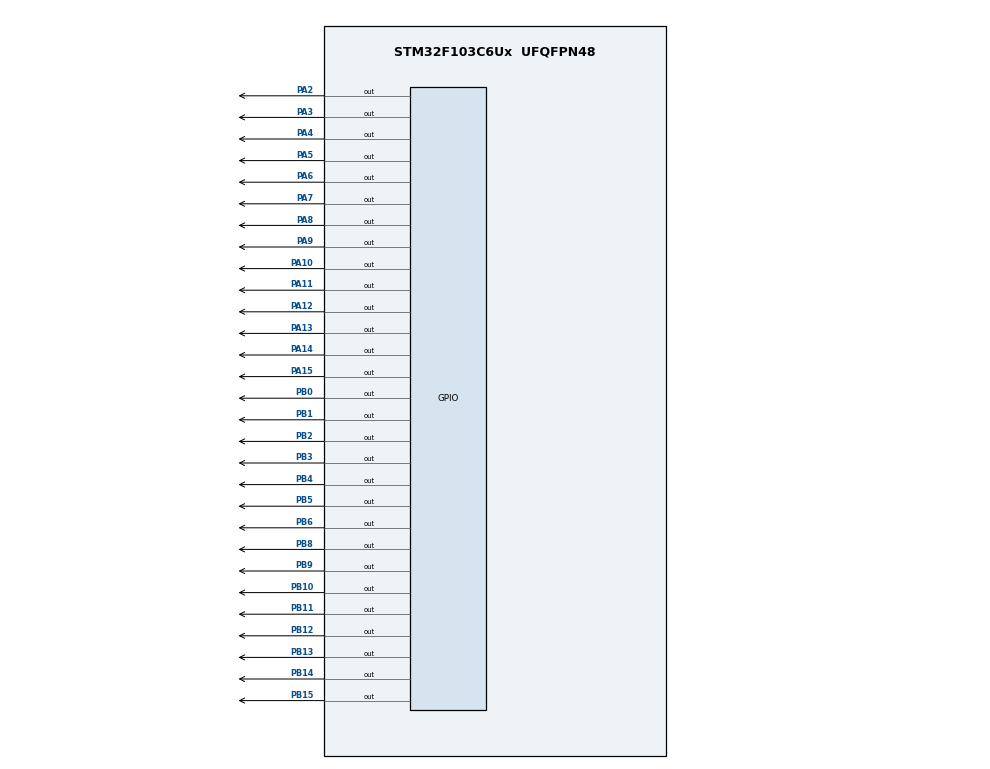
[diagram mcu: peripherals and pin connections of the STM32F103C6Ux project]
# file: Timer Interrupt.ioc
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Mcu.Family=STM32F1
Mcu.Name=STM32F103C6Ux
Mcu.Package=UFQFPN48
NVIC.PriorityGroup=NVIC_PRIORITYGROUP_4
NVIC.TIM2_IRQn=true\:0\:0\:false\:false\:true\:true\:true
PA10.Signal=GPIO_Output
PA11.Signal=GPIO_Output
PA12.Signal=GPIO_Output
PA13.Signal=GPIO_Output
PA14.Signal=GPIO_Output
PA15.Signal=GPIO_Output
PA2.Signal=GPIO_Output
PA3.Signal=GPIO_Output
PA4.Signal=GPIO_Output
PA5.Signal=GPIO_Output
PA6.Signal=GPIO_Output
PA7.Signal=GPIO_Output
PA8.Signal=GPIO_Output
PA9.Signal=GPIO_Output
PB0.Signal=GPIO_Output
PB1.Signal=GPIO_Output
PB10.Signal=GPIO_Output
PB11.Signal=GPIO_Output
PB12.Signal=GPIO_Output
PB13.Signal=GPIO_Output
PB14.Signal=GPIO_Output
PB15.Signal=GPIO_Output
PB2.Signal=GPIO_Output
PB3.Signal=GPIO_Output
PB4.Signal=GPIO_Output
PB5.Signal=GPIO_Output
PB6.Signal=GPIO_Output
PB8.Signal=GPIO_Output
PB9.Signal=GPIO_Output
ProjectManager.HeapSize=0x200
ProjectManager.StackSize=0x400
ProjectManager.TargetToolchain=STM32CubeIDE
RCC.APB1Freq_Value=8000000
RCC.APB2Freq_Value=8000000
TIM2.Period=1
TIM2.Prescaler=7999
VP_SYS_VS_ND.Mode=No_Debug
VP_TIM2_VS_ClockSourceINT.Mode=Internal
board=custom

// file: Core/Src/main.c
/* USER CODE BEGIN Header */
/**
  ******************************************************************************
  * @file           : main.c
  * @brief          : Main program body
  ******************************************************************************
  * @attention
  *
  * <h2><center>&copy; Copyright (c) 2026 STMicroelectronics.
  * All rights reserved.</center></h2>
  *
  * This software component is licensed by ST under BSD 3-Clause license,
  * the "License"; You may not use this file except in compliance with the
  * License. You may obtain a copy of the License at:
  *                        opensource.org/licenses/BSD-3-Clause
  *
  ******************************************************************************
  */
/* USER CODE END Header */
#include "main.h"

TIM_HandleTypeDef htim2;

void SystemClock_Config(void);
static void MX_TIM2_Init(void);
static void MX_GPIO_Init(void);

/* USER CODE BEGIN 0 */
int led_buffer[4] = {1, 2, 3, 0};
int index_led = 0;
const int MAX_LED_MATRIX = 8;
int index_led_matrix = 0;

uint8_t matrix_buffer[8] = {0x18, 0x24, 0x42, 0x42, 0x7E, 0x42, 0x42, 0x00};

void updateLEDMatrix(int index) {
    HAL_GPIO_WritePin(GPIOA, GPIO_PIN_2 | GPIO_PIN_3 | GPIO_PIN_10 |
                             GPIO_PIN_11 | GPIO_PIN_12 | GPIO_PIN_13 |
                             GPIO_PIN_14 | GPIO_PIN_15, GPIO_PIN_RESET);
    HAL_GPIO_WritePin(GPIOB, GPIO_PIN_8 | GPIO_PIN_9 | GPIO_PIN_10 |
                             GPIO_PIN_11 | GPIO_PIN_12 | GPIO_PIN_13 |
                             GPIO_PIN_14 | GPIO_PIN_15, GPIO_PIN_RESET);
    uint16_t row_data = matrix_buffer[index];
    GPIOB->ODR = (GPIOB->ODR & 0x00FF) | (row_data << 8);

    switch (index) {
        case 0: HAL_GPIO_WritePin(GPIOA, GPIO_PIN_2, GPIO_PIN_SET); break;
        case 1: HAL_GPIO_WritePin(GPIOA, GPIO_PIN_3, GPIO_PIN_SET); break;
        case 2: HAL_GPIO_WritePin(GPIOA, GPIO_PIN_10, GPIO_PIN_SET); break;
        case 3: HAL_GPIO_WritePin(GPIOA, GPIO_PIN_11, GPIO_PIN_SET); break;
        case 4: HAL_GPIO_WritePin(GPIOA, GPIO_PIN_12, GPIO_PIN_SET); break;
        case 5: HAL_GPIO_WritePin(GPIOA, GPIO_PIN_13, GPIO_PIN_SET); break;
        case 6: HAL_GPIO_WritePin(GPIOA, GPIO_PIN_14, GPIO_PIN_SET); break;
        case 7: HAL_GPIO_WritePin(GPIOA, GPIO_PIN_15, GPIO_PIN_SET); break;
    }
}
void update7SEG(int index) {
    HAL_GPIO_WritePin(GPIOA, GPIO_PIN_6 | GPIO_PIN_7 | GPIO_PIN_8 | GPIO_PIN_9, GPIO_PIN_SET);

    display7SEG(led_buffer[index]);

    switch (index) {
        case 0: HAL_GPIO_WritePin(GPIOA, GPIO_PIN_6, GPIO_PIN_RESET); break;
        case 1: HAL_GPIO_WritePin(GPIOA, GPIO_PIN_7, GPIO_PIN_RESET); break;
        case 2: HAL_GPIO_WritePin(GPIOA, GPIO_PIN_8, GPIO_PIN_RESET); break;
        case 3: HAL_GPIO_WritePin(GPIOA, GPIO_PIN_9, GPIO_PIN_RESET); break;
    }
}

void updateClockBuffer(int hour, int minute) {
    led_buffer[0] = hour / 10;
    led_buffer[1] = hour % 10;
    led_buffer[2] = minute / 10;
    led_buffer[3] = minute % 10;
}

// ex 6
int timer0_counter = 0;
int timer0_flag = 0;
int timer1_counter = 0;
int timer1_flag = 0;
int timer2_counter = 0;
int timer2_flag = 0;
int timer3_counter = 0;
int timer3_flag = 0;
int TIMER_CYCLE = 10;

void setTimer0(int duration) {
    timer0_counter = duration / TIMER_CYCLE;
    timer0_flag = 0;
}
void setTimer1(int duration) {
    timer1_counter = duration / TIMER_CYCLE;
    timer1_flag = 0;
}
void setTimer2(int duration) {
    timer2_counter = duration / TIMER_CYCLE;
    timer2_flag = 0;
}

void setTimer3(int duration) {
    timer3_counter = duration / TIMER_CYCLE;
    timer3_flag = 0;
}
void timer_run() {
    if (timer0_counter > 0) {
        timer0_counter--;
        if (timer0_counter == 0) timer0_flag = 1;
    }
    if (timer1_counter > 0) {
        timer1_counter--;
        if (timer1_counter == 0) timer1_flag = 1;
    }
    if (timer2_counter > 0) {
        timer2_counter--;
        if (timer2_counter == 0) timer2_flag = 1;
    }
    if (timer3_counter > 0) {
        timer3_counter--;
        if (timer3_counter == 0) timer3_flag = 1;
    }
}
/* USER CODE END 0 */

int main(void)
{

  /* MCU Configuration--------------------------------------------------------*/

  /* Reset of all peripherals, Initializes the Flash interface and the Systick. */
  HAL_Init();

  /* Configure the system clock */
  SystemClock_Config();

  /* Initialize all configured peripherals */
  MX_TIM2_Init();
  MX_GPIO_Init();
  /* USER CODE BEGIN 2 */
  HAL_TIM_Base_Start_IT (&htim2) ;
  // Software Timer
  setTimer0(1000);
  setTimer1(250);
  setTimer2(10);
  setTimer3(250);
  int hour = 15, minute = 8, second = 50;
  /* USER CODE END 2 */

  /* Infinite loop */
  /* USER CODE BEGIN WHILE */
  while (1)
    {
        /* Ex 5
        second++;
        if (second >= 60) { second = 0; minute++; }
        if (minute >= 60) { minute = 0; hour++; }
        if (hour >= 24) { hour = 0; }

        updateClockBuffer(hour, minute);
        HAL_GPIO_TogglePin(GPIOA, GPIO_PIN_4);
        HAL_Delay(1000);
        =========================================================== */

        // Ex 7 & Ex 8

        if (timer0_flag == 1) {
            setTimer0(1000);
            HAL_GPIO_TogglePin(GPIOA, GPIO_PIN_4);

            second++;
            if (second >= 60) { second = 0; minute++; }
            if (minute >= 60) { minute = 0; hour++; }
            if (hour >= 24) { hour = 0; }

            updateClockBuffer(hour, minute);
        }

        // Ex 8
        if (timer1_flag == 1) {
            setTimer1(250);
            update7SEG(index_led);
            index_led++;
            if (index_led >= 4) index_led = 0;
        }
        // Ex 9
        if (timer2_flag == 1) {
            setTimer2(10);
            updateLEDMatrix(index_led_matrix);
            index_led_matrix++;
            if (index_led_matrix >= MAX_LED_MATRIX) {
            index_led_matrix = 0;
            }
        }
        // Ex 10
       if (timer3_flag == 1) {
           setTimer3(250);
           for (int i = 0; i < MAX_LED_MATRIX; i++) {
        	   uint8_t lsb = matrix_buffer[i] & 0x01;
        	   matrix_buffer[i] = (matrix_buffer[i] >> 1) | (lsb << 7);
           }
       }
//    /* USER CODE END WHILE */

  }
}

void SystemClock_Config(void)
{
  RCC_OscInitTypeDef RCC_OscInitStruct = {0};
  RCC_ClkInitTypeDef RCC_ClkInitStruct = {0};

  /** Initializes the RCC Oscillators according to the specified parameters
  * in the RCC_OscInitTypeDef structure.
  */
  RCC_OscInitStruct.OscillatorType = RCC_OSCILLATORTYPE_HSI;
  RCC_OscInitStruct.HSIState = RCC_HSI_ON;
  RCC_OscInitStruct.HSICalibrationValue = RCC_HSICALIBRATION_DEFAULT;
  RCC_OscInitStruct.PLL.PLLState = RCC_PLL_NONE;
  if (HAL_RCC_OscConfig(&RCC_OscInitStruct) != HAL_OK)
  {
    Error_Handler();
  }
  /** Initializes the CPU, AHB and APB buses clocks
  */
  RCC_ClkInitStruct.ClockType = RCC_CLOCKTYPE_HCLK|RCC_CLOCKTYPE_SYSCLK
                              |RCC_CLOCKTYPE_PCLK1|RCC_CLOCKTYPE_PCLK2;
  RCC_ClkInitStruct.SYSCLKSource = RCC_SYSCLKSOURCE_HSI;
  RCC_ClkInitStruct.AHBCLKDivider = RCC_SYSCLK_DIV1;
  RCC_ClkInitStruct.APB1CLKDivider = RCC_HCLK_DIV1;
  RCC_ClkInitStruct.APB2CLKDivider = RCC_HCLK_DIV1;

  if (HAL_RCC_ClockConfig(&RCC_ClkInitStruct, FLASH_LATENCY_0) != HAL_OK)
  {
    Error_Handler();
  }
}

static void MX_TIM2_Init(void)
{

  TIM_ClockConfigTypeDef sClockSourceConfig = {0};
  TIM_MasterConfigTypeDef sMasterConfig = {0};

  htim2.Instance = TIM2;
  htim2.Init.Prescaler = 7999;
  htim2.Init.CounterMode = TIM_COUNTERMODE_UP;
  htim2.Init.Period = 1;
  htim2.Init.ClockDivision = TIM_CLOCKDIVISION_DIV1;
  htim2.Init.AutoReloadPreload = TIM_AUTORELOAD_PRELOAD_DISABLE;
  if (HAL_TIM_Base_Init(&htim2) != HAL_OK)
  {
    Error_Handler();
  }
  sClockSourceConfig.ClockSource = TIM_CLOCKSOURCE_INTERNAL;
  if (HAL_TIM_ConfigClockSource(&htim2, &sClockSourceConfig) != HAL_OK)
  {
    Error_Handler();
  }
  sMasterConfig.MasterOutputTrigger = TIM_TRGO_RESET;
  sMasterConfig.MasterSlaveMode = TIM_MASTERSLAVEMODE_DISABLE;
  if (HAL_TIMEx_MasterConfigSynchronization(&htim2, &sMasterConfig) != HAL_OK)
  {
    Error_Handler();
  }

}

static void MX_GPIO_Init(void)
{
  GPIO_InitTypeDef GPIO_InitStruct = {0};

  /* GPIO Ports Clock Enable */
  __HAL_RCC_GPIOA_CLK_ENABLE();
  __HAL_RCC_GPIOB_CLK_ENABLE();

  /*Configure GPIO pin Output Level */
  HAL_GPIO_WritePin(GPIOA, GPIO_PIN_2|GPIO_PIN_3|GPIO_PIN_4|GPIO_PIN_5
                          |GPIO_PIN_6|GPIO_PIN_7|GPIO_PIN_8|GPIO_PIN_9
                          |GPIO_PIN_10|GPIO_PIN_11|GPIO_PIN_12|GPIO_PIN_13
                          |GPIO_PIN_14|GPIO_PIN_15, GPIO_PIN_RESET);

  /*Configure GPIO pin Output Level */
  HAL_GPIO_WritePin(GPIOB, GPIO_PIN_0|GPIO_PIN_1|GPIO_PIN_2|GPIO_PIN_10
                          |GPIO_PIN_11|GPIO_PIN_12|GPIO_PIN_13|GPIO_PIN_14
                          |GPIO_PIN_15|GPIO_PIN_3|GPIO_PIN_4|GPIO_PIN_5
                          |GPIO_PIN_6|GPIO_PIN_8|GPIO_PIN_9, GPIO_PIN_RESET);

  /*Configure GPIO pins : PA2 PA3 PA4 PA5
                           PA6 PA7 PA8 PA9
                           PA10 PA11 PA12 PA13
                           PA14 PA15 */
  GPIO_InitStruct.Pin = GPIO_PIN_2|GPIO_PIN_3|GPIO_PIN_4|GPIO_PIN_5
                          |GPIO_PIN_6|GPIO_PIN_7|GPIO_PIN_8|GPIO_PIN_9
                          |GPIO_PIN_10|GPIO_PIN_11|GPIO_PIN_12|GPIO_PIN_13
                          |GPIO_PIN_14|GPIO_PIN_15;
  GPIO_InitStruct.Mode = GPIO_MODE_OUTPUT_PP;
  GPIO_InitStruct.Pull = GPIO_NOPULL;
  GPIO_InitStruct.Speed = GPIO_SPEED_FREQ_LOW;
  HAL_GPIO_Init(GPIOA, &GPIO_InitStruct);

  /*Configure GPIO pins : PB0 PB1 PB2 PB10
                           PB11 PB12 PB13 PB14
                           PB15 PB3 PB4 PB5
                           PB6 PB8 PB9 */
  GPIO_InitStruct.Pin = GPIO_PIN_0|GPIO_PIN_1|GPIO_PIN_2|GPIO_PIN_10
                          |GPIO_PIN_11|GPIO_PIN_12|GPIO_PIN_13|GPIO_PIN_14
                          |GPIO_PIN_15|GPIO_PIN_3|GPIO_PIN_4|GPIO_PIN_5
                          |GPIO_PIN_6|GPIO_PIN_8|GPIO_PIN_9;
  GPIO_InitStruct.Mode = GPIO_MODE_OUTPUT_PP;
  GPIO_InitStruct.Pull = GPIO_NOPULL;
  GPIO_InitStruct.Speed = GPIO_SPEED_FREQ_LOW;
  HAL_GPIO_Init(GPIOB, &GPIO_InitStruct);

}

/* USER CODE BEGIN 4 */
void display7SEG(int num) {
    switch (num) {
        case 0:
            HAL_GPIO_WritePin(GPIOB, GPIO_PIN_0|GPIO_PIN_1|GPIO_PIN_2|GPIO_PIN_3|GPIO_PIN_4|GPIO_PIN_5, GPIO_PIN_RESET);
            HAL_GPIO_WritePin(GPIOB, GPIO_PIN_6, GPIO_PIN_SET);
            break;
        case 1:
            HAL_GPIO_WritePin(GPIOB, GPIO_PIN_1|GPIO_PIN_2, GPIO_PIN_RESET);
            HAL_GPIO_WritePin(GPIOB, GPIO_PIN_0|GPIO_PIN_3|GPIO_PIN_4|GPIO_PIN_5|GPIO_PIN_6, GPIO_PIN_SET);
            break;
        case 2:
            HAL_GPIO_WritePin(GPIOB, GPIO_PIN_0|GPIO_PIN_1|GPIO_PIN_3|GPIO_PIN_4|GPIO_PIN_6, GPIO_PIN_RESET);
            HAL_GPIO_WritePin(GPIOB, GPIO_PIN_2|GPIO_PIN_5, GPIO_PIN_SET);
            break;
        case 3:
            HAL_GPIO_WritePin(GPIOB, GPIO_PIN_0|GPIO_PIN_1|GPIO_PIN_2|GPIO_PIN_3|GPIO_PIN_6, GPIO_PIN_RESET);
            HAL_GPIO_WritePin(GPIOB, GPIO_PIN_4|GPIO_PIN_5, GPIO_PIN_SET);
            break;
        case 4:
            HAL_GPIO_WritePin(GPIOB, GPIO_PIN_1|GPIO_PIN_2|GPIO_PIN_5|GPIO_PIN_6, GPIO_PIN_RESET);
            HAL_GPIO_WritePin(GPIOB, GPIO_PIN_0|GPIO_PIN_3|GPIO_PIN_4, GPIO_PIN_SET);
            break;
        case 5:
            HAL_GPIO_WritePin(GPIOB, GPIO_PIN_0|GPIO_PIN_2|GPIO_PIN_3|GPIO_PIN_5|GPIO_PIN_6, GPIO_PIN_RESET);
            HAL_GPIO_WritePin(GPIOB, GPIO_PIN_1|GPIO_PIN_4, GPIO_PIN_SET);
            break;
        case 6:
            HAL_GPIO_WritePin(GPIOB, GPIO_PIN_0|GPIO_PIN_2|GPIO_PIN_3|GPIO_PIN_4|GPIO_PIN_5|GPIO_PIN_6, GPIO_PIN_RESET);
            HAL_GPIO_WritePin(GPIOB, GPIO_PIN_1, GPIO_PIN_SET);
            break;
        case 7:
            HAL_GPIO_WritePin(GPIOB, GPIO_PIN_0|GPIO_PIN_1|GPIO_PIN_2, GPIO_PIN_RESET);
            HAL_GPIO_WritePin(GPIOB, GPIO_PIN_3|GPIO_PIN_4|GPIO_PIN_5|GPIO_PIN_6, GPIO_PIN_SET);
            break;
        case 8:
            HAL_GPIO_WritePin(GPIOB, GPIO_PIN_0|GPIO_PIN_1|GPIO_PIN_2|GPIO_PIN_3|GPIO_PIN_4|GPIO_PIN_5|GPIO_PIN_6, GPIO_PIN_RESET);
            break;
        case 9:
            HAL_GPIO_WritePin(GPIOB, GPIO_PIN_0|GPIO_PIN_1|GPIO_PIN_2|GPIO_PIN_3|GPIO_PIN_5|GPIO_PIN_6, GPIO_PIN_RESET);
            HAL_GPIO_WritePin(GPIOB, GPIO_PIN_4, GPIO_PIN_SET);
            break;
    }
}

//int led_counter = 50; Ex 2, 3
int led_counter = 25; // Ex 4, 5

void HAL_TIM_PeriodElapsedCallback(TIM_HandleTypeDef *htim)
{
    if (htim->Instance == TIM2) {

        //  Ex 6, 7, 8
        timer_run();

        /*
        Ex 2, 3, 4, 5

        led_counter--;
        if (led_counter <= 0) {
            led_counter = 25;
            update7SEG(index_led);
            index_led++;
            if (index_led >= 4) index_led = 0;
        }
        */
    }
}

/* USER CODE END 4 */

void Error_Handler(void)
{
  __disable_irq();
  while (1)
  {
  }
}

/************************ (C) COPYRIGHT STMicroelectronics *****END OF FILE****/
